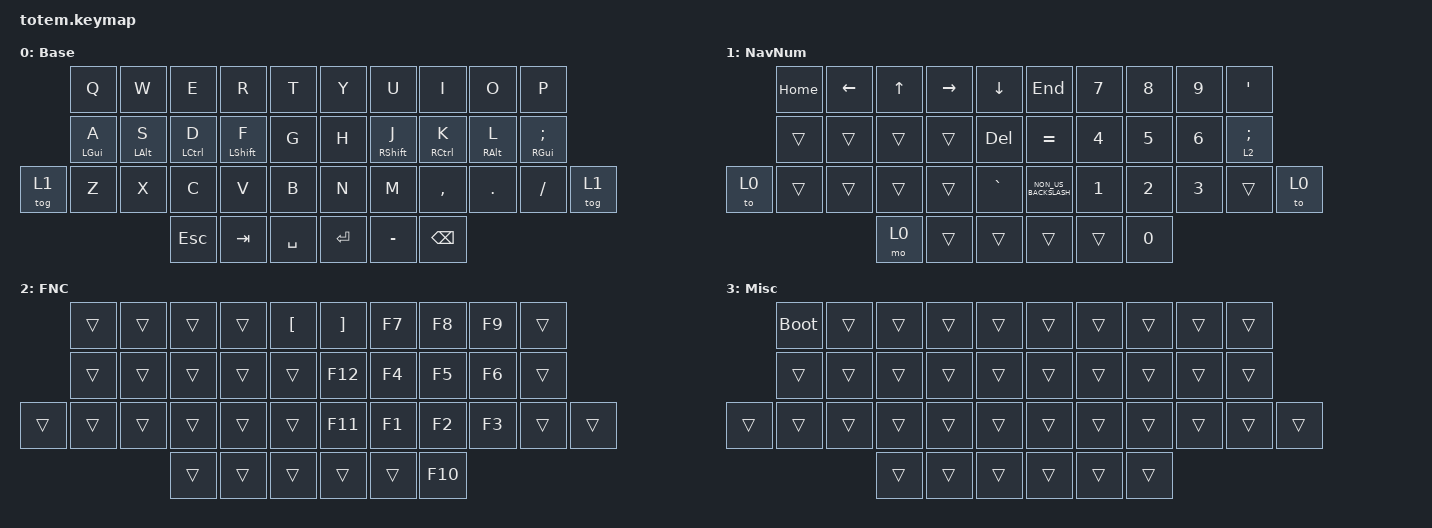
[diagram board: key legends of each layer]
//
//                                                        ▀▀▀▀▀     ▀▀▀▀▀          ▀▀█▀▀
//                                                        ▄▀▀▀▄  ▄  ▄▀▀▀▄  ▄  ▄▀▀▀▄  █  ▄▀▀▀▄
//                                                        █   █  █  █   █  █  █   █  █  █   █
//                                                         ▀▀▀   █   ▀▀▀   █   ▀▀▀   ▀   ▀▀▀
//                                                               █      ▄▄▄█▄▄▄    █   █  
//                                                               ▀      █  █  █     █▄█
//                                                             ▀▀▀▀▀    █  █  █      ▀
//                                                                      ▀  ▀  ▀
//
// ▄▄▄▄▄▄▄▄▄▄▄▄▄▄▄▄▄▄▄▄▄▄▄▄▄▄▄▄▄▄▄▄▄▄▄▄▄▄▄▄▄▄▄▄▄▄▄▄▄▄▄▄▄▄▄▄▄▄▄▄▄▄▄▄▄▄▄▄▄▄▄▄▄▄▄▄▄▄▄▄▄▄▄▄▄▄▄▄▄▄▄▄▄▄▄▄▄▄▄▄▄▄▄▄▄▄▄▄▄▄▄▄▄▄▄▄▄▄▄▄▄▄▄▄▄▄▄▄▄▄▄▄▄▄▄▄▄▄▄▄▄▄▄▄▄▄▄▄▄

#include <behaviors.dtsi>
#include <dt-bindings/zmk/keys.h>

#define Base        0
#define Media       1
#define Nav         2
#define Mouse       3
#define Sym         4
#define Num         5
#define Fun         6
#define Button      7
#define Game        8
#define Gameplus    9

&mt {
    quick-tap-ms = <100>;
    global-quick-tap;
    flavor = "tap-preferred";
    tapping-term-ms = <170>;
};

&lt {
    tapping-term-ms = <240>;
    flavor = "balanced";
    quick-tap-ms = <150>;
};

/ {
    behaviors {
        hm: homerow_mods {
            compatible = "zmk,behavior-hold-tap";
            label = "HOMEROW_MODS";
            #binding-cells = <2>;
            flavor = "tap-preferred";
            tapping-term-ms = <200>;
            quick-tap-ms = <125>;
            global-quick-tap;
            bindings = <&kp>, <&kp>;
        };
    };

    combos { compatible = "zmk,combos"; };

    keymap {
        compatible = "zmk,keymap";

        Base {
            label = "Base";
            bindings = <
        &kp Q       &kp W       &kp E        &kp R         &kp T        &kp Y    &kp U        &kp I          &kp O       &kp P
        &hm LGUI A  &hm LALT S  &hm LCTRL D  &hm LSHIFT F  &kp G        &kp H    &hm RSHFT J  &hm RCTRL K    &hm RALT L  &hm RGUI SEMICOLON
&tog 1  &kp Z       &kp X       &kp C        &kp V         &kp B        &kp N    &kp M        &kp COMMA      &kp DOT     &kp SLASH           &tog 1
                                &kp ESC      &kp TAB       &kp SPACE    &kp RET  &kp MINUS    &kp BACKSPACE
            >;
        };

        NavNum {
            label = "NavNum";
            bindings = <
       &kp HOME  &kp LEFT_ARROW  &kp UP_ARROW  &kp RIGHT_ARROW  &kp DOWN     &kp END               &kp NUMBER_7  &kp NUMBER_8  &kp NUMBER_9  &kp SQT
       &trans    &trans          &trans        &trans           &kp DEL      &kp EQUAL             &kp NUMBER_4  &kp NUMBER_5  &kp NUMBER_6  &lt 2 SEMICOLON
&to 0  &trans    &trans          &trans        &trans           &kp GRAVE    &kp NON_US_BACKSLASH  &kp NUMBER_1  &kp NUMBER_2  &kp NUMBER_3  &trans           &to 0
                                 &mo 0         &trans           &trans       &trans                &trans        &kp NUMBER_0
            >;
        };

        FNC {
            label = "FNC";
            bindings = <
        &trans  &trans  &trans  &trans  &kp LEFT_BRACKET    &kp RIGHT_BRACKET  &kp F7  &kp F8   &kp F9  &trans
        &trans  &trans  &trans  &trans  &trans              &kp F12            &kp F4  &kp F5   &kp F6  &trans
&trans  &trans  &trans  &trans  &trans  &trans              &kp F11            &kp F1  &kp F2   &kp F3  &trans  &trans
                        &trans  &trans  &trans              &trans             &trans  &kp F10
            >;
        };

        Misc {
            label = "Misc";
            bindings = <
        &bootloader  &trans  &trans  &trans  &trans    &trans  &trans  &trans  &trans  &trans
        &trans       &trans  &trans  &trans  &trans    &trans  &trans  &trans  &trans  &trans
&trans  &trans       &trans  &trans  &trans  &trans    &trans  &trans  &trans  &trans  &trans  &trans
                             &trans  &trans  &trans    &trans  &trans  &trans
            >;
        };
    };
};
